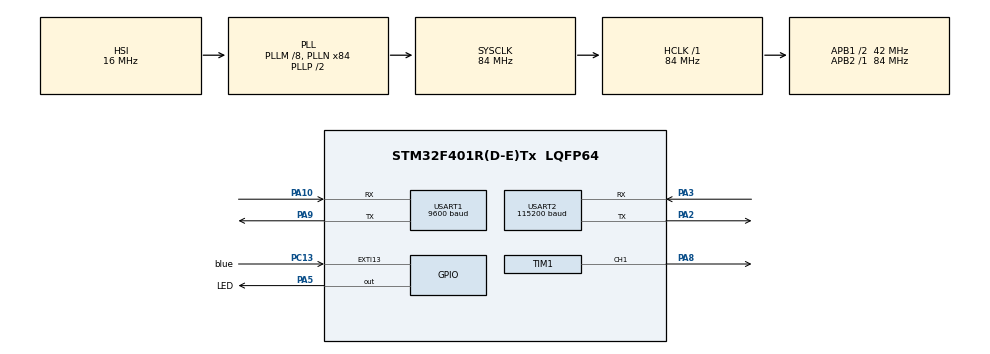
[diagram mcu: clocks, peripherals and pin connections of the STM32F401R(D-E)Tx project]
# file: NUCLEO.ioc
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Dma.Request0=TIM1_CH1
Dma.TIM1_CH1.0.Direction=DMA_MEMORY_TO_PERIPH
Dma.TIM1_CH1.0.FIFOMode=DMA_FIFOMODE_DISABLE
Dma.TIM1_CH1.0.Instance=DMA2_Stream1
Dma.TIM1_CH1.0.MemDataAlignment=DMA_MDATAALIGN_HALFWORD
Dma.TIM1_CH1.0.MemInc=DMA_MINC_ENABLE
Dma.TIM1_CH1.0.Mode=DMA_NORMAL
Dma.TIM1_CH1.0.PeriphDataAlignment=DMA_PDATAALIGN_HALFWORD
Dma.TIM1_CH1.0.PeriphInc=DMA_PINC_DISABLE
Dma.TIM1_CH1.0.Priority=DMA_PRIORITY_MEDIUM
Mcu.Family=STM32F4
Mcu.Name=STM32F401R(D-E)Tx
Mcu.Package=LQFP64
NVIC.DMA2_Stream1_IRQn=true\:0\:0\:false\:false\:true\:false\:true
NVIC.EXTI15_10_IRQn=true\:0\:0\:false\:false\:true\:true\:true
NVIC.PriorityGroup=NVIC_PRIORITYGROUP_4
NVIC.TIM1_CC_IRQn=true\:0\:0\:false\:false\:true\:true\:true
NVIC.USART1_IRQn=true\:0\:0\:false\:false\:true\:true\:true
PA10.Mode=Asynchronous
PA10.Signal=USART1_RX
PA2.Mode=Asynchronous
PA2.Signal=USART2_TX
PA3.Mode=Asynchronous
PA3.Signal=USART2_RX
PA5.GPIO_Label=LED
PA5.Signal=GPIO_Output
PA8.GPIO_Speed=GPIO_SPEED_FREQ_VERY_HIGH
PA8.Signal=S_TIM1_CH1
PA9.Mode=Asynchronous
PA9.Signal=USART1_TX
PC13-ANTI_TAMP.GPIO_Label=blue
PC13-ANTI_TAMP.Signal=GPXTI13
PH0\ -\ OSC_IN.Mode=HSE-External-Oscillator
PH0\ -\ OSC_IN.Signal=RCC_OSC_IN
PH1\ -\ OSC_OUT.Mode=HSE-External-Oscillator
PH1\ -\ OSC_OUT.Signal=RCC_OSC_OUT
ProjectManager.HeapSize=0x200
ProjectManager.StackSize=0x400
ProjectManager.TargetToolchain=STM32CubeIDE
RCC.48MHZClocksFreq_Value=42000000
RCC.AHBFreq_Value=84000000
RCC.APB1CLKDivider=RCC_HCLK_DIV2
RCC.APB1Freq_Value=42000000
RCC.APB1TimFreq_Value=84000000
RCC.APB2Freq_Value=84000000
RCC.APB2TimFreq_Value=84000000
RCC.CortexFreq_Value=84000000
RCC.HCLKFreq_Value=84000000
RCC.HSE_VALUE=25000000
RCC.HSI_VALUE=16000000
RCC.LSE_VALUE=32768
RCC.PLLM=8
RCC.PLLN=84
RCC.SYSCLKFreq_VALUE=84000000
RCC.SYSCLKSource=RCC_SYSCLKSOURCE_PLLCLK
RCC.VCOOutputFreq_Value=168000000
SH.S_TIM1_CH1.0=TIM1_CH1,PWM Generation1 CH1
TIM1.Channel-PWM\ Generation1\ CH1=TIM_CHANNEL_1
TIM1.Period=75
TIM1.Prescaler=0
TIM1.Pulse-PWM\ Generation1\ CH1=50
USART1.BaudRate=9600
USART1.VirtualMode=VM_ASYNC
USART2.BaudRate=115200
USART2.VirtualMode=VM_ASYNC
board=custom

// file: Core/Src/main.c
/* USER CODE BEGIN Header */
/**
  ******************************************************************************
  * @file           : main.c
  * @brief          : Main program body
  ******************************************************************************
  * @attention
  *
  * <h2><center>&copy; Copyright (c) 2023 STMicroelectronics.
  * All rights reserved.</center></h2>
  *
  * This software component is licensed by ST under BSD 3-Clause license,
  * the "License"; You may not use this file except in compliance with the
  * License. You may obtain a copy of the License at:
  *                        opensource.org/licenses/BSD-3-Clause
  *
  ******************************************************************************
  */
/* USER CODE END Header */
#include "main.h"

TIM_HandleTypeDef htim1;
DMA_HandleTypeDef hdma_tim1_ch1;

UART_HandleTypeDef huart1;
UART_HandleTypeDef huart2;

/* USER CODE BEGIN PV */

volatile int UART1_Transmitted;
volatile int UART1_Received;;
/* USER CODE END PV */

void SystemClock_Config(void);
static void MX_GPIO_Init(void);
static void MX_DMA_Init(void);
static void MX_USART2_UART_Init(void);
static void MX_USART1_UART_Init(void);
static void MX_TIM1_Init(void);
/* USER CODE BEGIN PFP */

void HAL_UART_TxCpltCallback(UART_HandleTypeDef *huart)
{

	if(huart->Instance == USART1)
	{
		UART1_Transmitted = 1;
	}
}

void HAL_UART_RxCpltCallback(UART_HandleTypeDef *huart)
{
	if(huart->Instance == USART1)
	{
		UART1_Received = 1;
	}
}

/* USER CODE END PFP */

/* USER CODE BEGIN 0 */

enum LEDSTATE{
	INIT = 0,
	IDLE,
	WAVE,
	BLINK,
	SLIDE,
	COMET,
	COMET1,
	GLOW,
	GLOW1,
	SOC,
	CLEARALL
};

enum LEDSTATE stmState = INIT;

int datasentflag = 0;
int changeFlag = 0;

#define personalLED
int LEDhigh;
int LEDarr;
int LEDlow;
int MAX_LED;
int RESET_LED_DELAY;

#ifdef personalLED
	#define LEDhigh 70
	#define LEDlow 35
	#define LEDarr 105
	#define MAX_LED 60
	#define RESET_LED_DELAY 50
#else
	#define LEDhigh 50
	#define LEDlow 25
	#define LEDarr 75
	#define MAX_LED 144
	#define RESET_LED_DELAY 320
#endif

uint8_t LED_Data[MAX_LED][4];
uint16_t pwmData[(24*MAX_LED)+RESET_LED_DELAY];

void HAL_GPIO_EXTI_Callback(uint16_t GPIO_Pin)
{
	if(GPIO_Pin == GPIO_PIN_13)
	{
		HAL_GPIO_TogglePin(GPIOA, GPIO_PIN_5);
		changeFlag = 1;
	}
}

void Set_LED (int LEDnum, int Red, int Green, int Blue)
{
	if(LEDnum < 0)
		LEDnum = 0;
	if(LEDnum > MAX_LED)
		LEDnum = MAX_LED;
	LED_Data[LEDnum][0] = LEDnum;
	LED_Data[LEDnum][1] = Green;
	LED_Data[LEDnum][2] = Red;
	LED_Data[LEDnum][3] = Blue;
}

void WS2812_Send (void)
{
	uint32_t indx=0;
	uint32_t color;

	for (int i= 0; i<MAX_LED; i++)
	{
		color = ((LED_Data[i][1]<<16) | (LED_Data[i][2]<<8) | (LED_Data[i][3]));

		for (int i=23; i>=0; i--)
		{
			if (color&(1<<i))
			{
				pwmData[indx] = LEDhigh;  //70	ARR: 105
			}

			else pwmData[indx] = LEDlow;  //35

			indx++;
		}

	}

	for (int i=0; i<RESET_LED_DELAY; i++)
	{
		pwmData[indx] = 0;
		indx++;
	}

	HAL_TIM_PWM_Start_DMA(&htim1, TIM_CHANNEL_1, (uint32_t *)pwmData, indx);

	while (!datasentflag){};
	datasentflag = 0;
}

void clearLEDData()
{
	for(int x = 0; x < MAX_LED; x++)
	{
		Set_LED(x, 0, 0, 0);
	}
}

void setAllLED(int red, int green, int blue)
{
	for(int x = 0; x < MAX_LED; x++)
	{
		Set_LED(x, red, green, blue);
	}
}

void blinkLED(int onTime, int offTime, int red, int green, int blue)
{
	setAllLED(red, green, blue);
	WS2812_Send();
	HAL_Delay(onTime);
	clearLEDData();
	WS2812_Send();
	HAL_Delay(offTime);
}

int head = 0;
int tail = 0;

void cometLED(int delay, int red, int green, int blue, int cometLength)
{
	head++;
	tail++;
	if(head == MAX_LED)
		head--;
	if(tail == MAX_LED)
	{
		head = 0;
		tail = 0;
	}
	int x = 0;
	if(head < cometLength)
	{
		tail--;
		while(x < head)
		{
			Set_LED(x, red, green, blue);
			x++;
		}
	}
	else
	{
		while(x < tail)
		{
			Set_LED(x, 0, 0, 0);
			x++;
		}
	}
	while(x < head)
	{
		Set_LED(x, red, green, blue);
		x++;
	}
	while(x < MAX_LED)
	{
		Set_LED(x, 0, 0, 0);
		x++;
	}
	WS2812_Send();
	HAL_Delay(delay);
}

int slideHead = 0;
void slideLED(int delay, int red, int green, int blue)
{
	slideHead++;
	if(slideHead == MAX_LED)
	{
		slideHead = 0;
		clearLEDData();
		WS2812_Send();
	}
	Set_LED(slideHead, red, green, blue);
	WS2812_Send();
	HAL_Delay(delay);
}

int dir = 0;
float redIncrement;
int currRed;
float greenIncrement;
int currGreen;
float blueIncrement;
int currBlue;

void glowInitLED(int red, int green, int blue, int red1, int green1, int blue1)
{
	redIncrement = (red1-red)/100;
	greenIncrement = (green1-green)/100;
	blueIncrement = (blue1-blue)/100;
	currRed = red;
	currBlue = blue;
	currGreen = green;
	dir = 1;
}

void glowLED(int delay, int red, int green, int blue, int red1, int green1, int blue1)
{
	if(dir == 0)
	{
		if((currRed - red) < (2*redIncrement))
			dir = 1;
		currRed = currRed - redIncrement;
		currGreen = currGreen - greenIncrement;
		currBlue = currBlue - blueIncrement;
	}
	else if(dir == 1)
	{
		if((red1-currRed) < (2*redIncrement))
			dir = 0;
		currRed = currRed + redIncrement;
		currGreen = currGreen + greenIncrement;
		currBlue = currBlue + blueIncrement;
	}
	setAllLED(currRed, currGreen, currBlue);
	WS2812_Send();
	HAL_Delay(delay);
}

void soc(int soc, int red, int green, int blue)
{
	float tempNUM =(soc*MAX_LED)/10000;
	int numLEDs = (int)(tempNUM);
	Set_LED(numLEDs, 0, 0, 0);
	for(int x = 0; x < numLEDs; x++)
	{
		Set_LED(x, red, green, blue);
	}
	WS2812_Send();
	HAL_Delay(500);
	Set_LED(numLEDs, red, green, blue);
	WS2812_Send();
	HAL_Delay(500);
}

int currTick = 0;
void wave(int waveRed, int waveGreen, int waveBlue, int bgRed, int bgGreen, int bgBlue, int waveLength, int intensity)
{
	int x = 0;
	int y = MAX_LED;
	setAllLED(bgRed, bgGreen, bgBlue);
	int cycleTicks = tail*intensity;
	if(currTick > cycleTicks)
	{
		currTick = 0;
		if(dir == 1)
		{
			if(head <= 0)
			{
				if(tail < 3)
				{
					dir = 0;
					head = tail;
				}
				else
				{
					tail--;
					while(x < tail)
					{
						Set_LED(x, waveRed, waveGreen, waveBlue);
						Set_LED(y, waveRed, waveGreen, waveBlue);
						x++;
						y--;
					}
				}
			}
			else
			{
				head--;
				tail = head + waveLength;
				x = head;
				y = MAX_LED - head;
				while(x < tail)
				{
					Set_LED(x, waveRed, waveGreen, waveBlue);
					Set_LED(y, waveRed, waveGreen, waveBlue);
					x++;
					y--;
				}
			}
		}
		else
		{
			head++;
			tail = head - waveLength;
			x = tail;
			y = MAX_LED - tail;
			while(x < head)
			{
				Set_LED(x, waveRed, waveGreen, waveBlue);
				Set_LED(y, waveRed, waveGreen, waveBlue);
				x++;
				y--;
			}
			if(head > (MAX_LED/2 + 5))
			{
				dir = 1;
				head = tail;
			}
		}
		WS2812_Send();
	}
	else
		currTick++;
}

void HAL_TIM_PWM_PulseFinishedCallback(TIM_HandleTypeDef *htim)
{
	HAL_TIM_PWM_Stop_DMA(&htim1, TIM_CHANNEL_1);
	datasentflag = 1;
}
/* USER CODE END 0 */

int main(void)
{

  /* MCU Configuration--------------------------------------------------------*/

  /* Reset of all peripherals, Initializes the Flash interface and the Systick. */
  HAL_Init();

  /* Configure the system clock */
  SystemClock_Config();

  /* Initialize all configured peripherals */
  MX_GPIO_Init();
  MX_DMA_Init();
  MX_USART2_UART_Init();
  MX_USART1_UART_Init();
  MX_TIM1_Init();
  /* USER CODE BEGIN 2 */
  int tempSOC = 0;
  htim1.Instance->ARR = LEDarr;
  /* USER CODE END 2 */

  /* Infinite loop */
  /* USER CODE BEGIN WHILE */
  while (1)
  {
	 switch(stmState)
	 {
	 case INIT:
		 clearLEDData();
		 WS2812_Send();
		 stmState = IDLE;
		 break;
	 case IDLE:
		 if(changeFlag == 1)
		 {
			 changeFlag = 0;
			 stmState = WAVE;
		 }
		 break;
	 case WAVE:
		 wave(75, 50, 50, 30, 20, 20, 15, 50);
		 if(changeFlag == 1)
		 {
			 changeFlag = 0;
			 stmState = SOC;
		 }
		 break;
	 case SOC:
		 soc(tempSOC, 10, 100, 20);
		 if(changeFlag == 1)
		 {
			 changeFlag = 0;
			 if(tempSOC == 10000)
				 stmState = BLINK;
			 tempSOC = tempSOC + 1000;
		 }
		 break;
	 case BLINK:
		 blinkLED(600, 500, 100, 100, 0);
		 if(changeFlag == 1)
		 {
			 changeFlag = 0;
			 stmState = SLIDE;
		 }
		 break;
	 case SLIDE:
		 slideLED(5,100,20,20);
		 if(changeFlag == 1)
		 {
			 changeFlag = 0;
			 stmState = COMET;
		 }
		 break;
	 case COMET:
		 cometLED(60,100,20,0,80);
		 if(changeFlag == 1)
		 {
			 changeFlag = 0;
			 stmState = COMET1;
		 }
		 break;
	 case COMET1:
		 cometLED(5,120,0,120,20);
		 if(changeFlag == 1)
		 {
			 changeFlag = 0;
			 glowInitLED(0, 0, 100, 100, 0, 0);
			 stmState = GLOW;
		 }
		 break;
	 case GLOW:
		 glowLED(40, 0, 0, 100, 100, 0, 0);
		 if(changeFlag == 1)
		 {
			 changeFlag = 0;
			 glowInitLED(0, 0, 0, 255, 255, 255);
			 stmState = GLOW1;
		 }
		 break;
	 case GLOW1:
		 glowLED(4, 0, 0, 0, 255, 255, 255);
		 if(changeFlag == 1)
		 {
			 changeFlag = 0;
			 stmState = CLEARALL;
		 }
		 break;
	 case CLEARALL:
		 clearLEDData();
		 WS2812_Send();
		 stmState = IDLE;
		 break;

	 }
    /* USER CODE END WHILE */

  }
}

void SystemClock_Config(void)
{
  RCC_OscInitTypeDef RCC_OscInitStruct = {0};
  RCC_ClkInitTypeDef RCC_ClkInitStruct = {0};

  /** Configure the main internal regulator output voltage
  */
  __HAL_RCC_PWR_CLK_ENABLE();
  __HAL_PWR_VOLTAGESCALING_CONFIG(PWR_REGULATOR_VOLTAGE_SCALE2);
  /** Initializes the RCC Oscillators according to the specified parameters
  * in the RCC_OscInitTypeDef structure.
  */
  RCC_OscInitStruct.OscillatorType = RCC_OSCILLATORTYPE_HSI;
  RCC_OscInitStruct.HSIState = RCC_HSI_ON;
  RCC_OscInitStruct.HSICalibrationValue = RCC_HSICALIBRATION_DEFAULT;
  RCC_OscInitStruct.PLL.PLLState = RCC_PLL_ON;
  RCC_OscInitStruct.PLL.PLLSource = RCC_PLLSOURCE_HSI;
  RCC_OscInitStruct.PLL.PLLM = 8;
  RCC_OscInitStruct.PLL.PLLN = 84;
  RCC_OscInitStruct.PLL.PLLP = RCC_PLLP_DIV2;
  RCC_OscInitStruct.PLL.PLLQ = 4;
  if (HAL_RCC_OscConfig(&RCC_OscInitStruct) != HAL_OK)
  {
    Error_Handler();
  }
  /** Initializes the CPU, AHB and APB buses clocks
  */
  RCC_ClkInitStruct.ClockType = RCC_CLOCKTYPE_HCLK|RCC_CLOCKTYPE_SYSCLK
                              |RCC_CLOCKTYPE_PCLK1|RCC_CLOCKTYPE_PCLK2;
  RCC_ClkInitStruct.SYSCLKSource = RCC_SYSCLKSOURCE_PLLCLK;
  RCC_ClkInitStruct.AHBCLKDivider = RCC_SYSCLK_DIV1;
  RCC_ClkInitStruct.APB1CLKDivider = RCC_HCLK_DIV2;
  RCC_ClkInitStruct.APB2CLKDivider = RCC_HCLK_DIV1;

  if (HAL_RCC_ClockConfig(&RCC_ClkInitStruct, FLASH_LATENCY_2) != HAL_OK)
  {
    Error_Handler();
  }
}

static void MX_TIM1_Init(void)
{

  TIM_MasterConfigTypeDef sMasterConfig = {0};
  TIM_OC_InitTypeDef sConfigOC = {0};
  TIM_BreakDeadTimeConfigTypeDef sBreakDeadTimeConfig = {0};

  htim1.Instance = TIM1;
  htim1.Init.Prescaler = 0;
  htim1.Init.CounterMode = TIM_COUNTERMODE_UP;
  htim1.Init.Period = 75;
  htim1.Init.ClockDivision = TIM_CLOCKDIVISION_DIV1;
  htim1.Init.RepetitionCounter = 0;
  htim1.Init.AutoReloadPreload = TIM_AUTORELOAD_PRELOAD_DISABLE;
  if (HAL_TIM_PWM_Init(&htim1) != HAL_OK)
  {
    Error_Handler();
  }
  sMasterConfig.MasterOutputTrigger = TIM_TRGO_RESET;
  sMasterConfig.MasterSlaveMode = TIM_MASTERSLAVEMODE_DISABLE;
  if (HAL_TIMEx_MasterConfigSynchronization(&htim1, &sMasterConfig) != HAL_OK)
  {
    Error_Handler();
  }
  sConfigOC.OCMode = TIM_OCMODE_PWM1;
  sConfigOC.Pulse = 50;
  sConfigOC.OCPolarity = TIM_OCPOLARITY_HIGH;
  sConfigOC.OCNPolarity = TIM_OCNPOLARITY_HIGH;
  sConfigOC.OCFastMode = TIM_OCFAST_DISABLE;
  sConfigOC.OCIdleState = TIM_OCIDLESTATE_RESET;
  sConfigOC.OCNIdleState = TIM_OCNIDLESTATE_RESET;
  if (HAL_TIM_PWM_ConfigChannel(&htim1, &sConfigOC, TIM_CHANNEL_1) != HAL_OK)
  {
    Error_Handler();
  }
  sBreakDeadTimeConfig.OffStateRunMode = TIM_OSSR_DISABLE;
  sBreakDeadTimeConfig.OffStateIDLEMode = TIM_OSSI_DISABLE;
  sBreakDeadTimeConfig.LockLevel = TIM_LOCKLEVEL_OFF;
  sBreakDeadTimeConfig.DeadTime = 0;
  sBreakDeadTimeConfig.BreakState = TIM_BREAK_DISABLE;
  sBreakDeadTimeConfig.BreakPolarity = TIM_BREAKPOLARITY_HIGH;
  sBreakDeadTimeConfig.AutomaticOutput = TIM_AUTOMATICOUTPUT_DISABLE;
  if (HAL_TIMEx_ConfigBreakDeadTime(&htim1, &sBreakDeadTimeConfig) != HAL_OK)
  {
    Error_Handler();
  }
  HAL_TIM_MspPostInit(&htim1);

}

static void MX_USART1_UART_Init(void)
{

  huart1.Instance = USART1;
  huart1.Init.BaudRate = 9600;
  huart1.Init.WordLength = UART_WORDLENGTH_8B;
  huart1.Init.StopBits = UART_STOPBITS_1;
  huart1.Init.Parity = UART_PARITY_NONE;
  huart1.Init.Mode = UART_MODE_TX_RX;
  huart1.Init.HwFlowCtl = UART_HWCONTROL_NONE;
  huart1.Init.OverSampling = UART_OVERSAMPLING_16;
  if (HAL_UART_Init(&huart1) != HAL_OK)
  {
    Error_Handler();
  }

}

static void MX_USART2_UART_Init(void)
{

  huart2.Instance = USART2;
  huart2.Init.BaudRate = 115200;
  huart2.Init.WordLength = UART_WORDLENGTH_8B;
  huart2.Init.StopBits = UART_STOPBITS_1;
  huart2.Init.Parity = UART_PARITY_NONE;
  huart2.Init.Mode = UART_MODE_TX_RX;
  huart2.Init.HwFlowCtl = UART_HWCONTROL_NONE;
  huart2.Init.OverSampling = UART_OVERSAMPLING_16;
  if (HAL_UART_Init(&huart2) != HAL_OK)
  {
    Error_Handler();
  }

}

static void MX_DMA_Init(void)
{

  /* DMA controller clock enable */
  __HAL_RCC_DMA2_CLK_ENABLE();

  /* DMA interrupt init */
  /* DMA2_Stream1_IRQn interrupt configuration */
  HAL_NVIC_SetPriority(DMA2_Stream1_IRQn, 0, 0);
  HAL_NVIC_EnableIRQ(DMA2_Stream1_IRQn);

}

static void MX_GPIO_Init(void)
{
  GPIO_InitTypeDef GPIO_InitStruct = {0};

  /* GPIO Ports Clock Enable */
  __HAL_RCC_GPIOC_CLK_ENABLE();
  __HAL_RCC_GPIOH_CLK_ENABLE();
  __HAL_RCC_GPIOA_CLK_ENABLE();

  /*Configure GPIO pin Output Level */
  HAL_GPIO_WritePin(LED_GPIO_Port, LED_Pin, GPIO_PIN_RESET);

  /*Configure GPIO pin : blue_Pin */
  GPIO_InitStruct.Pin = blue_Pin;
  GPIO_InitStruct.Mode = GPIO_MODE_IT_RISING;
  GPIO_InitStruct.Pull = GPIO_NOPULL;
  HAL_GPIO_Init(blue_GPIO_Port, &GPIO_InitStruct);

  /*Configure GPIO pin : LED_Pin */
  GPIO_InitStruct.Pin = LED_Pin;
  GPIO_InitStruct.Mode = GPIO_MODE_OUTPUT_PP;
  GPIO_InitStruct.Pull = GPIO_NOPULL;
  GPIO_InitStruct.Speed = GPIO_SPEED_FREQ_LOW;
  HAL_GPIO_Init(LED_GPIO_Port, &GPIO_InitStruct);

  /* EXTI interrupt init*/
  HAL_NVIC_SetPriority(EXTI15_10_IRQn, 0, 0);
  HAL_NVIC_EnableIRQ(EXTI15_10_IRQn);

}

void Error_Handler(void)
{
  __disable_irq();
  while (1)
  {
  }
}

/************************ (C) COPYRIGHT STMicroelectronics *****END OF FILE****/
